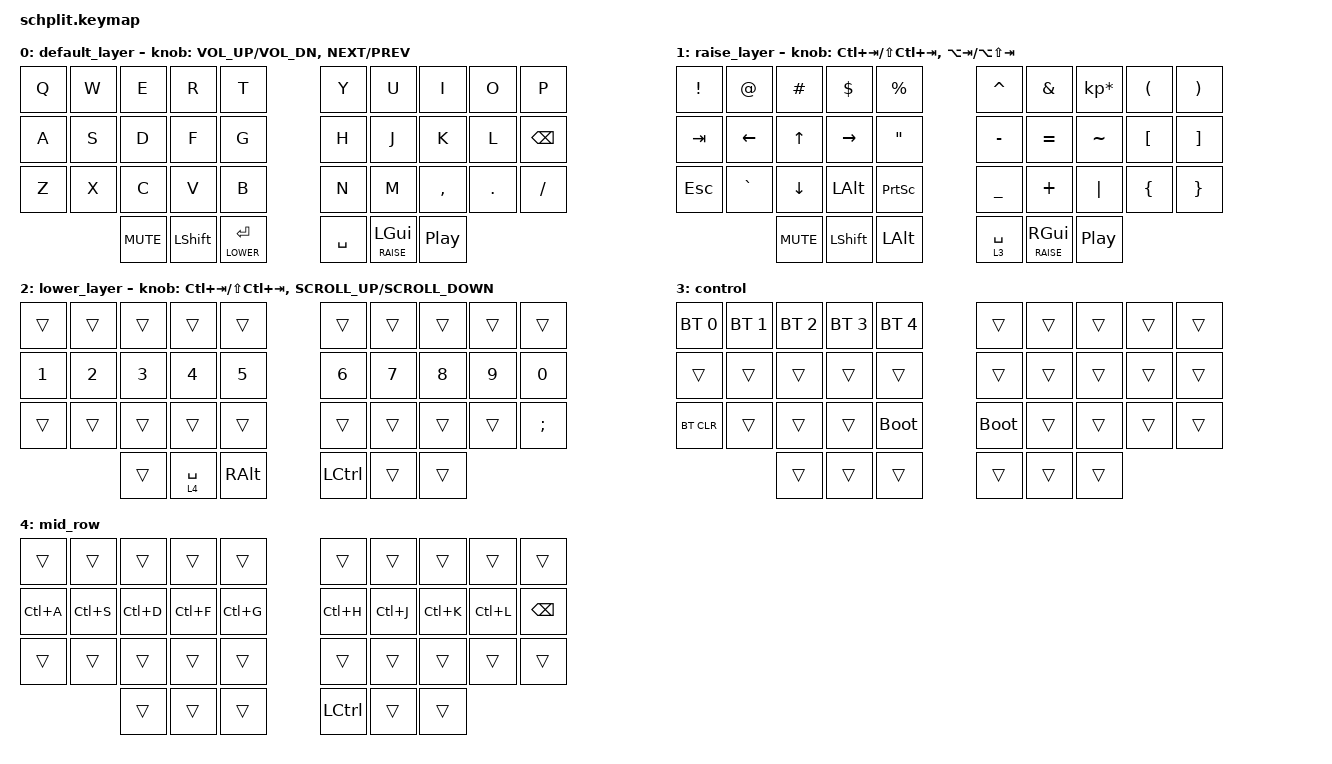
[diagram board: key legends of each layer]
#include <behaviors.dtsi>
#include <dt-bindings/zmk/bt.h>
#include <dt-bindings/zmk/keys.h>

#define DEFAULT 0
#define LOWER   1
#define RAISE   2

/ {
    combos {
        compatible = "zmk,combos";

        new_combo {
            bindings = <&kp COLON>;
            key-positions = <31 19>;
        };
    };

    keymap {
        compatible = "zmk,keymap";

        default_layer {
            // -----------------------------------------------------------------------------------------
            // | SW5  | SW4  | SW3  | SW2  | SW1  |                 | SW1  | SW2  | SW3  | SW4  | SW5  |
            // | SW10 | SW9  | SW8  | SW7  | SW6  |                 | SW6  | SW7  | SW8  | SW9  | SW10 |
            // | SW15 | SW14 | SW13 | SW12 | SW11 |                 | SW11 | SW12 | SW13 | SW14 | SW15 |
            //               | ENC  | SW17 | SW16 |                 | SW16 | SW17 | ENC  |

            bindings = <
&kp Q  &kp W  &kp E       &kp R       &kp T              &kp Y      &kp U           &kp I      &kp O    &kp P
&kp A  &kp S  &kp D       &kp F       &kp G              &kp H      &kp J           &kp K      &kp L    &kp BSPC
&kp Z  &kp X  &kp C       &kp V       &kp B              &kp N      &kp M           &kp COMMA  &kp DOT  &kp FSLH
              &kp C_MUTE  &kp LSHIFT  &lt LOWER ENTER    &kp SPACE  &lt RAISE LGUI  &kp C_PP
            >;

            sensor-bindings = <
            &inc_dec_kp C_VOL_UP C_VOL_DN
            &inc_dec_kp C_NEXT C_PREV
            >;
        };

        raise_layer {
            // ------------------------------------                                                     ------------------------------------
            // | !  | @  | #  | $  | %  |                                                               |  ^  |  &  |  *  | (  | )  |
            // | TAB | LEFT  | UP  | RIGHT  | TRANS  |                                                     | -  | =  | ~ | [  | ] |
            // | ESC | GRAVE | DOWN | L ALT | PRINT SCREEN |                                                     | _ | + | "|" | { | } |
            //               | ENC  | SW17 | SW16 |                                                     | SW16 | SW17 | ENC  |

            bindings = <
&kp EXCL  &kp AT     &kp HASH    &kp DLLR    &kp PRCNT    &kp CARET    &kp AMPS        &kp KP_MULTIPLY  &kp LPAR  &kp RPAR
&kp TAB   &kp LEFT   &kp UP      &kp RIGHT   &kp DQT      &kp MINUS    &kp EQUAL       &kp TILDE        &kp LBKT  &kp RBKT
&kp ESC   &kp GRAVE  &kp DOWN    &kp LALT    &kp PSCRN    &kp UNDER    &kp PLUS        &kp PIPE         &kp LBRC  &kp RBRC
                     &kp C_MUTE  &kp LSHIFT  &kp LALT     &lt 3 SPACE  &lt RAISE RGUI  &kp C_PP
            >;

            sensor-bindings =
                <&inc_dec_kp LC(TAB) LS(LC(TAB))>,
                <&inc_dec_kp LA(TAB) LA(LS(TAB))>;
        };

        lower_layer {
            // ___________________________________________                                                              ________________________________________________
            // | BT1    | BT2  | BT3  | BT4  | BT5  |                                                                   | SW1           | SW2   | SW3   | SW4   | SW5  |
            // | 1      | 2    | 3    | 4    | 5  |                                                                     | 6             | 7     | 8     | 9     | 10   |
            // | BT CLR | SW14 | SW13 | SW12 | BOOTLOADER |                                                             | BOOTLOADER    | SW12  | SW13  | SW14  | SW15 |
            //                 | ENC  | SW17 | SW16 |                                                                   | SW16          | SW17  | ENC   | 

            bindings = <
&trans  &trans  &trans  &trans       &trans      &trans            &trans  &trans  &trans  &trans
&kp N1  &kp N2  &kp N3  &kp N4       &kp N5      &kp N6            &kp N7  &kp N8  &kp N9  &kp N0
&trans  &trans  &trans  &trans       &trans      &trans            &trans  &trans  &trans  &kp SEMI
                &trans  &lt 4 SPACE  &kp RALT    &kp LEFT_CONTROL  &trans  &trans
            >;

            sensor-bindings = <
                &inc_dec_kp LC(TAB) LS(LC(TAB))
                &inc_dec_kp K_SCROLL_UP K_SCROLL_DOWN
            >;
        };

        control {
            bindings = <
&bt BT_SEL 0  &bt BT_SEL 1  &bt BT_SEL 2  &bt BT_SEL 3  &bt BT_SEL 4    &trans       &trans  &trans  &trans  &trans
&trans        &trans        &trans        &trans        &trans          &trans       &trans  &trans  &trans  &trans
&bt BT_CLR    &trans        &trans        &trans        &bootloader     &bootloader  &trans  &trans  &trans  &trans
                            &trans        &trans        &trans          &trans       &trans  &trans
            >;
        };

        mid_row {
            bindings = <
&trans     &trans     &trans     &trans     &trans       &trans     &trans     &trans     &trans     &trans
&kp LC(A)  &kp LC(S)  &kp LC(D)  &kp LC(F)  &kp LC(G)    &kp LC(H)  &kp LC(J)  &kp LC(K)  &kp LC(L)  &kp BSPC
&trans     &trans     &trans     &trans     &trans       &trans     &trans     &trans     &trans     &trans
                      &trans     &trans     &trans       &kp LCTRL  &trans     &trans
            >;
        };
    };
};
